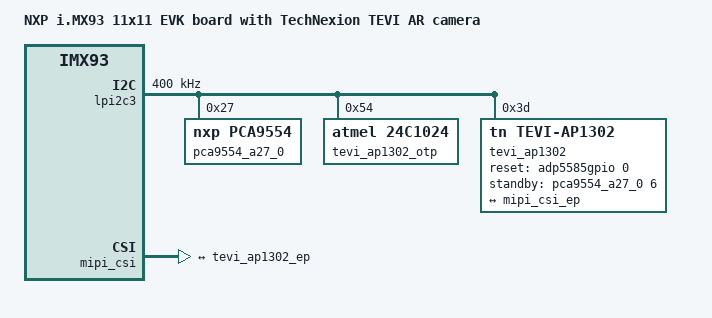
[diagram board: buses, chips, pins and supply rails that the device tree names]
// SPDX-License-Identifier: (GPL-2.0+ OR MIT)
/*
 * Copyright 2024 TechNexion Ltd.
 *
 * Author: Nian Yang <nian.yang@technexion.com>
 *
 */

#include "imx93-11x11-evk.dts"

/ {
	model = "NXP i.MX93 11x11 EVK board with TechNexion TEVI AR camera";
	
	/delete-node/ regulator-dvdd_sel;
	/delete-node/ regulator-dvdd;
	/delete-node/ regulator-vdd;
	/delete-node/ regulator-vddo;
	/delete-node/ regulator-vaa_sel;
	/delete-node/ regulator-avdd;
};

&lpi2c3 {
	clock-frequency = <400000>;

	/delete-node/ ap1302_mipi@3c;
	/delete-node/ mfd-isp@34;
	
	pca9554_a27_0: pca9554@27 {
		compatible = "nxp,pca9554";
		pinctrl-names = "default";
		reg = <0x27>;
		gpio-controller;
		#gpio-cells = <2>;
		status = "okay";
		gpio-line-names = "EXPOSURE_TRIG_IN1", "FLASH_OUT1", "CAM_SHUTTER1", "XVS1",
							"CSI1_PDB", "CSI1_INT", "INFO_TRIG_IN1", "CSI1_RST_N";
	};

	tevi_ap1302_otp: calib-data@54 {
		compatible = "atmel,24c1024";
		reg = <0x54>;
		pagesize = <256>;
	};

	tevi_ap1302: tevi_ap1302@3d {
		compatible = "tn,tevi-ap1302";
		reg = <0x3d>;

		reset-gpios   = <&adp5585gpio 0 GPIO_ACTIVE_HIGH>;
		standby-gpios = <&pca9554_a27_0 6 GPIO_ACTIVE_HIGH>;

		nvmem = <&tevi_ap1302_otp>;
		nvmem-names = "calib-data";

		data-lanes = <2>;
		continuous-clock = <0>;
		status = "okay";

		port {
			tevi_ap1302_ep: endpoint {
				remote-endpoint = <&mipi_csi_ep>;
			};
		};
	};
};

&mipi_csi {
	#address-cells = <1>;
	#size-cells = <0>;
	status = "okay";

	port@0 {
		reg = <0>;
		mipi_csi_ep: endpoint {
			remote-endpoint = <&tevi_ap1302_ep>;
			data-lanes = <2>;
			cfg-clk-range = <28>;
			hs-clk-range = <0x16>;
			bus-type = <4>;
		};
	};
};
